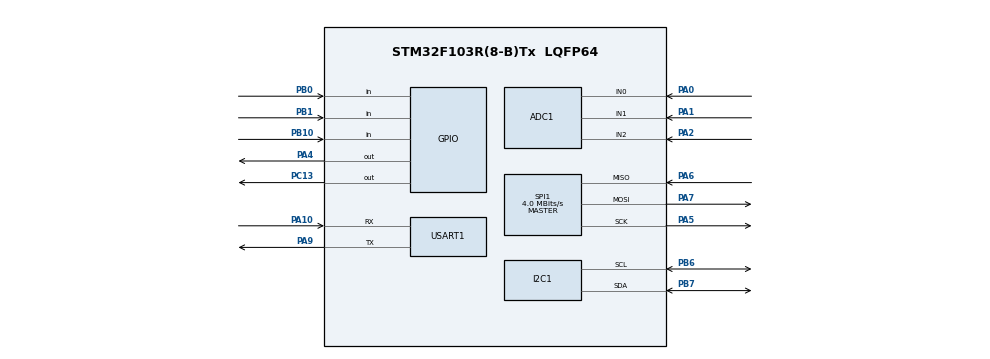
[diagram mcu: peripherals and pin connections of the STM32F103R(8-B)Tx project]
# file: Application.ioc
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ADC1.ContinuousConvMode=DISABLE
ADC1.EnableRegularConversion=DISABLE
ADC1.master=1
Mcu.Family=STM32F1
Mcu.Name=STM32F103R(8-B)Tx
Mcu.Package=LQFP64
NVIC.PriorityGroup=NVIC_PRIORITYGROUP_4
NVIC.TIM2_IRQn=true\:0\:0\:false\:false\:true\:true\:true\:true
PA0-WKUP.Signal=ADCx_IN0
PA1.Signal=ADCx_IN1
PA10.Mode=Asynchronous
PA10.Signal=USART1_RX
PA2.Signal=ADCx_IN2
PA4.PinState=GPIO_PIN_SET
PA4.Signal=GPIO_Output
PA5.Mode=Full_Duplex_Master
PA5.Signal=SPI1_SCK
PA6.Mode=Full_Duplex_Master
PA6.Signal=SPI1_MISO
PA7.Mode=Full_Duplex_Master
PA7.Signal=SPI1_MOSI
PA9.Mode=Asynchronous
PA9.Signal=USART1_TX
PB0.GPIO_PuPd=GPIO_PULLUP
PB0.Signal=GPIO_Input
PB1.GPIO_PuPd=GPIO_PULLUP
PB1.Signal=GPIO_Input
PB10.GPIO_PuPd=GPIO_PULLUP
PB10.Signal=GPIO_Input
PB6.Mode=I2C
PB6.Signal=I2C1_SCL
PB7.Mode=I2C
PB7.Signal=I2C1_SDA
PC13-TAMPER-RTC.Signal=GPIO_Output
ProjectManager.HeapSize=0x200
ProjectManager.StackSize=0x400
ProjectManager.TargetToolchain=STM32CubeIDE
RCC.APB1Freq_Value=8000000
RCC.APB2Freq_Value=8000000
SH.ADCx_IN0.0=ADC1_IN0,IN0
SH.ADCx_IN1.0=ADC1_IN1,IN1
SH.ADCx_IN2.0=ADC1_IN2,IN2
SPI1.CalculateBaudRate=4.0 MBits/s
SPI1.Direction=SPI_DIRECTION_2LINES
SPI1.Mode=SPI_MODE_MASTER
SPI1.VirtualType=VM_MASTER
TIM2.ClockDivision=TIM_CLOCKDIVISION_DIV1
TIM2.Period=999
TIM2.Prescaler=72
USART1.VirtualMode=VM_ASYNC
VP_FATFS_VS_Generic.Mode=User_defined
VP_SYS_VS_ND.Mode=No_Debug
VP_TIM2_VS_ClockSourceINT.Mode=Internal
board=custom

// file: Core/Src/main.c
/* USER CODE BEGIN Header */
/**
  ******************************************************************************
  * @file           : main.c
  * @brief          : Main program body
  ******************************************************************************
  * @attention
  *
  * Copyright (c) 2026 STMicroelectronics.
  * All rights reserved.
  *
  * This software is licensed under terms that can be found in the LICENSE file
  * in the root directory of this software component.
  * If no LICENSE file comes with this software, it is provided AS-IS.
  *
  ******************************************************************************
  */
/* USER CODE END Header */
#include "main.h"
#include "fatfs.h"

/* USER CODE BEGIN Includes */

#include "vehicle.h"
#include "dashboard.h"
#include "diagnostics.h"
#include "uart_manager.h"

/* USER CODE END Includes */

ADC_HandleTypeDef hadc1;

I2C_HandleTypeDef hi2c1;

SPI_HandleTypeDef hspi1;

TIM_HandleTypeDef htim2;

UART_HandleTypeDef huart1;

void SystemClock_Config(void);
static void MX_GPIO_Init(void);
static void MX_USART1_UART_Init(void);
static void MX_ADC1_Init(void);
static void MX_TIM2_Init(void);
static void MX_I2C1_Init(void);
static void MX_SPI1_Init(void);

/* USER CODE BEGIN 0 */

volatile uint32_t timer_ms = 0;

/* USER CODE END 0 */

int main(void)
{

  /* MCU Configuration--------------------------------------------------------*/

  /* Reset of all peripherals, Initializes the Flash interface and the Systick. */
  HAL_Init();

  /* Configure the system clock */
  SystemClock_Config();

  /* USER CODE BEGIN SysInit */

  __enable_irq();

//  UART_Printf("VTOR = 0x%08lX\r\n", SCB->VTOR);
  /* USER CODE END SysInit */

  /* Initialize all configured peripherals */
  MX_GPIO_Init();
  MX_USART1_UART_Init();
  MX_ADC1_Init();
  MX_TIM2_Init();
  MX_I2C1_Init();
  MX_SPI1_Init();
  MX_FATFS_Init();
  /* USER CODE BEGIN 2 */

  HAL_TIM_Base_Start_IT(&htim2);

  UART_Printf("I2C initialized\r\n");

  SSD1306_Init();

  UART_Printf("SSD1306 initialized\r\n");

  SSD1306_Fill(SSD1306_COLOR_BLACK);

  SSD1306_GotoXY(0, 0);
  SSD1306_Puts("HELLO");

  SSD1306_UpdateScreen();

  UART_Printf("SSD1306 update complete\r\n");

//  uint32_t lastPrint = 0;
  /* USER CODE END 2 */

  /* Infinite loop */
  while (1)
  {

    /* USER CODE BEGIN 3 */

	Vehicle_Update();

	Diagnostics_Run();

	Dashboard_Print();
  }
  /* USER CODE END 3 */
}

void SystemClock_Config(void)
{
  RCC_OscInitTypeDef RCC_OscInitStruct = {0};
  RCC_ClkInitTypeDef RCC_ClkInitStruct = {0};
  RCC_PeriphCLKInitTypeDef PeriphClkInit = {0};

  /** Initializes the RCC Oscillators according to the specified parameters
  * in the RCC_OscInitTypeDef structure.
  */
  RCC_OscInitStruct.OscillatorType = RCC_OSCILLATORTYPE_HSI;
  RCC_OscInitStruct.HSIState = RCC_HSI_ON;
  RCC_OscInitStruct.HSICalibrationValue = RCC_HSICALIBRATION_DEFAULT;
  RCC_OscInitStruct.PLL.PLLState = RCC_PLL_NONE;
  if (HAL_RCC_OscConfig(&RCC_OscInitStruct) != HAL_OK)
  {
    Error_Handler();
  }

  /** Initializes the CPU, AHB and APB buses clocks
  */
  RCC_ClkInitStruct.ClockType = RCC_CLOCKTYPE_HCLK|RCC_CLOCKTYPE_SYSCLK
                              |RCC_CLOCKTYPE_PCLK1|RCC_CLOCKTYPE_PCLK2;
  RCC_ClkInitStruct.SYSCLKSource = RCC_SYSCLKSOURCE_HSI;
  RCC_ClkInitStruct.AHBCLKDivider = RCC_SYSCLK_DIV1;
  RCC_ClkInitStruct.APB1CLKDivider = RCC_HCLK_DIV1;
  RCC_ClkInitStruct.APB2CLKDivider = RCC_HCLK_DIV1;

  if (HAL_RCC_ClockConfig(&RCC_ClkInitStruct, FLASH_LATENCY_0) != HAL_OK)
  {
    Error_Handler();
  }
  PeriphClkInit.PeriphClockSelection = RCC_PERIPHCLK_ADC;
  PeriphClkInit.AdcClockSelection = RCC_ADCPCLK2_DIV2;
  if (HAL_RCCEx_PeriphCLKConfig(&PeriphClkInit) != HAL_OK)
  {
    Error_Handler();
  }
}

static void MX_ADC1_Init(void)
{

  /** Common config
  */
  hadc1.Instance = ADC1;
  hadc1.Init.ScanConvMode = ADC_SCAN_DISABLE;
  hadc1.Init.ContinuousConvMode = DISABLE;
  hadc1.Init.DiscontinuousConvMode = DISABLE;
  hadc1.Init.ExternalTrigConv = ADC_SOFTWARE_START;
  hadc1.Init.DataAlign = ADC_DATAALIGN_RIGHT;
  hadc1.Init.NbrOfConversion = 1;
  if (HAL_ADC_Init(&hadc1) != HAL_OK)
  {
    Error_Handler();
  }

}

static void MX_I2C1_Init(void)
{

  hi2c1.Instance = I2C1;
  hi2c1.Init.ClockSpeed = 100000;
  hi2c1.Init.DutyCycle = I2C_DUTYCYCLE_2;
  hi2c1.Init.OwnAddress1 = 0;
  hi2c1.Init.AddressingMode = I2C_ADDRESSINGMODE_7BIT;
  hi2c1.Init.DualAddressMode = I2C_DUALADDRESS_DISABLE;
  hi2c1.Init.OwnAddress2 = 0;
  hi2c1.Init.GeneralCallMode = I2C_GENERALCALL_DISABLE;
  hi2c1.Init.NoStretchMode = I2C_NOSTRETCH_DISABLE;
  if (HAL_I2C_Init(&hi2c1) != HAL_OK)
  {
    Error_Handler();
  }

}

static void MX_SPI1_Init(void)
{

  /* SPI1 parameter configuration*/
  hspi1.Instance = SPI1;
  hspi1.Init.Mode = SPI_MODE_MASTER;
  hspi1.Init.Direction = SPI_DIRECTION_2LINES;
  hspi1.Init.DataSize = SPI_DATASIZE_8BIT;
  hspi1.Init.CLKPolarity = SPI_POLARITY_LOW;
  hspi1.Init.CLKPhase = SPI_PHASE_1EDGE;
  hspi1.Init.NSS = SPI_NSS_SOFT;
  hspi1.Init.BaudRatePrescaler = SPI_BAUDRATEPRESCALER_2;
  hspi1.Init.FirstBit = SPI_FIRSTBIT_MSB;
  hspi1.Init.TIMode = SPI_TIMODE_DISABLE;
  hspi1.Init.CRCCalculation = SPI_CRCCALCULATION_DISABLE;
  hspi1.Init.CRCPolynomial = 10;
  if (HAL_SPI_Init(&hspi1) != HAL_OK)
  {
    Error_Handler();
  }

}

static void MX_TIM2_Init(void)
{

  TIM_ClockConfigTypeDef sClockSourceConfig = {0};
  TIM_MasterConfigTypeDef sMasterConfig = {0};

  htim2.Instance = TIM2;
  htim2.Init.Prescaler = 72;
  htim2.Init.CounterMode = TIM_COUNTERMODE_UP;
  htim2.Init.Period = 999;
  htim2.Init.ClockDivision = TIM_CLOCKDIVISION_DIV1;
  htim2.Init.AutoReloadPreload = TIM_AUTORELOAD_PRELOAD_DISABLE;
  if (HAL_TIM_Base_Init(&htim2) != HAL_OK)
  {
    Error_Handler();
  }
  sClockSourceConfig.ClockSource = TIM_CLOCKSOURCE_INTERNAL;
  if (HAL_TIM_ConfigClockSource(&htim2, &sClockSourceConfig) != HAL_OK)
  {
    Error_Handler();
  }
  sMasterConfig.MasterOutputTrigger = TIM_TRGO_RESET;
  sMasterConfig.MasterSlaveMode = TIM_MASTERSLAVEMODE_DISABLE;
  if (HAL_TIMEx_MasterConfigSynchronization(&htim2, &sMasterConfig) != HAL_OK)
  {
    Error_Handler();
  }

}

static void MX_USART1_UART_Init(void)
{

  huart1.Instance = USART1;
  huart1.Init.BaudRate = 115200;
  huart1.Init.WordLength = UART_WORDLENGTH_8B;
  huart1.Init.StopBits = UART_STOPBITS_1;
  huart1.Init.Parity = UART_PARITY_NONE;
  huart1.Init.Mode = UART_MODE_TX_RX;
  huart1.Init.HwFlowCtl = UART_HWCONTROL_NONE;
  huart1.Init.OverSampling = UART_OVERSAMPLING_16;
  if (HAL_UART_Init(&huart1) != HAL_OK)
  {
    Error_Handler();
  }

}

static void MX_GPIO_Init(void)
{
  GPIO_InitTypeDef GPIO_InitStruct = {0};

  /* GPIO Ports Clock Enable */
  __HAL_RCC_GPIOC_CLK_ENABLE();
  __HAL_RCC_GPIOA_CLK_ENABLE();
  __HAL_RCC_GPIOB_CLK_ENABLE();

  /*Configure GPIO pin Output Level */
  HAL_GPIO_WritePin(GPIOC, GPIO_PIN_13, GPIO_PIN_RESET);

  /*Configure GPIO pin Output Level */
  HAL_GPIO_WritePin(GPIOA, GPIO_PIN_4, GPIO_PIN_SET);

  /*Configure GPIO pin : PC13 */
  GPIO_InitStruct.Pin = GPIO_PIN_13;
  GPIO_InitStruct.Mode = GPIO_MODE_OUTPUT_PP;
  GPIO_InitStruct.Pull = GPIO_NOPULL;
  GPIO_InitStruct.Speed = GPIO_SPEED_FREQ_LOW;
  HAL_GPIO_Init(GPIOC, &GPIO_InitStruct);

  /*Configure GPIO pin : PA4 */
  GPIO_InitStruct.Pin = GPIO_PIN_4;
  GPIO_InitStruct.Mode = GPIO_MODE_OUTPUT_PP;
  GPIO_InitStruct.Pull = GPIO_NOPULL;
  GPIO_InitStruct.Speed = GPIO_SPEED_FREQ_LOW;
  HAL_GPIO_Init(GPIOA, &GPIO_InitStruct);

  /*Configure GPIO pins : PB0 PB1 PB10 */
  GPIO_InitStruct.Pin = GPIO_PIN_0|GPIO_PIN_1|GPIO_PIN_10;
  GPIO_InitStruct.Mode = GPIO_MODE_INPUT;
  GPIO_InitStruct.Pull = GPIO_PULLUP;
  HAL_GPIO_Init(GPIOB, &GPIO_InitStruct);

}

void Error_Handler(void)
{
  __disable_irq();
  while (1)
  {
  }
}
